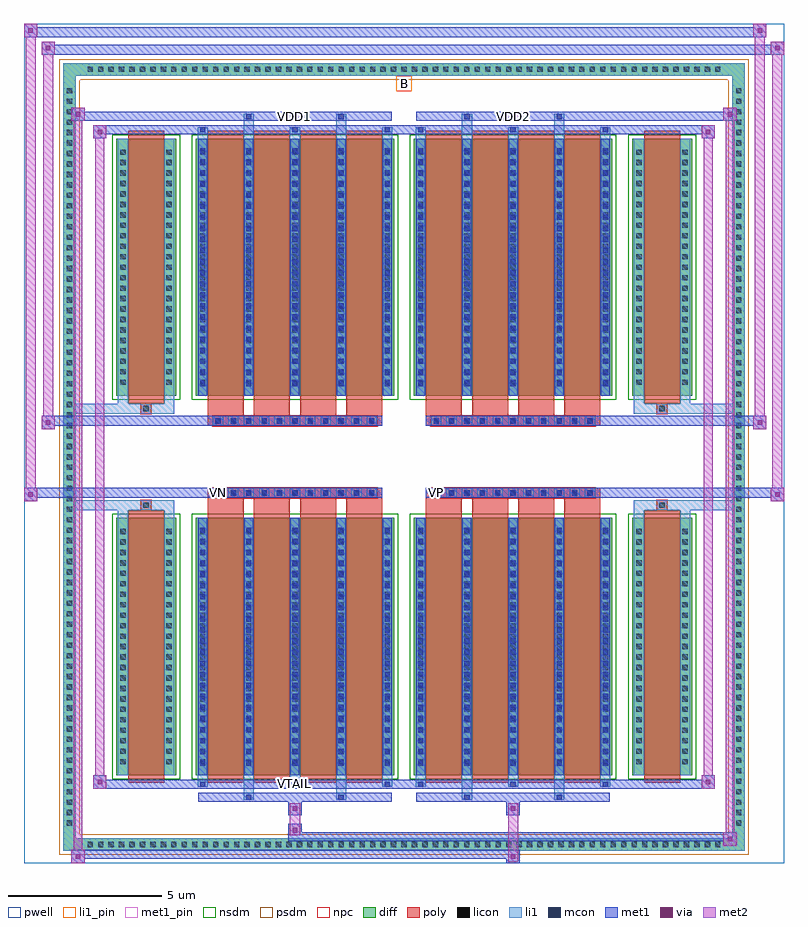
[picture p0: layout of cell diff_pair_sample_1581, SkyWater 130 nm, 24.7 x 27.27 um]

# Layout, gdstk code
import gdstk
lib = gdstk.Library(unit=1e-6, precision=5e-09)
def R(c, l, rs):  # rectangles x0, y0, x1, y1
    for r in rs: c.add(gdstk.rectangle(r[:2], r[2:], *l))
def A(c, l, x, y, w, h, nx, ny, dx, dy):  # array of equal rectangles
    R(c, l, [(x+i*dx, y+j*dy, x+i*dx+w, y+j*dy+h) for i in range(nx) for j in range(ny)])
def P(c, l, *ps):  # polygons
    for p in ps: c.add(gdstk.Polygon(p, *l))
pwell = (64, 44)
diff = (65, 20)
poly = (66, 20)
licon = (66, 44)
li1_pin = (67, 16)
li1 = (67, 20)
mcon = (67, 44)
met1_pin = (68, 16)
met1 = (68, 20)
via = (68, 44)
met2 = (69, 20)
nsdm = (93, 44)
psdm = (94, 20)
npc = (95, 20)

diff_pair_sample_1581 = lib.new_cell('diff_pair_sample_1581')
R(diff_pair_sample_1581, pwell, [(-12.35,-13.2,12.35,14.07), (-9.67,-11.39,-0.01,-0.805), (0.01,-11.39,9.67,-0.805), (-9.67,0.805,-0.01,11.39), (0.01,0.805,9.67,11.39)])
A(diff_pair_sample_1581, diff, -10.405, -12.8, 0.41, 0.41, 61, 2, 0.34, 25.19)
A(diff_pair_sample_1581, diff, -11.08, -12.105, 0.41, 0.41, 1, 71, 0, 0.34)
A(diff_pair_sample_1581, diff, 10.67, -12.105, 0.41, 0.41, 1, 71, 0, 0.34)
R(diff_pair_sample_1581, diff, [(-10.405,-12.8,10.405,-12.39), (-11.08,-12.105,-10.67,12.105), (10.67,-12.105,11.08,12.105), (-9.36,-10.345,-7.41,-1.985), (-6.77,-10.345,-0.32,-1.985), (0.32,-10.345,6.77,-1.985), (7.41,-10.345,9.36,-1.985), (-9.36,1.985,-7.41,10.345), (-6.77,1.985,-0.32,10.345), (0.32,1.985,6.77,10.345), (7.41,1.985,9.36,10.345), (-10.405,12.39,10.405,12.8)])
P(diff_pair_sample_1581, diff, [(11.08,12.8),(-11.08,12.8),(-11.08,-12.39),(-10.67,-12.39),(-10.67,12.39),(10.67,12.39),(10.67,-12.39),(-10.67,-12.39),(-11.08,-12.39),(-11.08,-12.8),(11.08,-12.8)])
A(diff_pair_sample_1581, poly, -6.38, -10.595, 1.17, 8.86, 4, 2, 1.5, 12.33)
A(diff_pair_sample_1581, poly, 0.71, -10.595, 1.17, 8.86, 4, 2, 1.5, 12.33)
A(diff_pair_sample_1581, poly, -6.38, -1.735, 1.17, 0.4, 4, 2, 1.5, 3.07)
A(diff_pair_sample_1581, poly, 0.71, -1.735, 1.17, 0.4, 4, 2, 1.5, 3.07)
A(diff_pair_sample_1581, poly, -6.21, -1.335, 0.33, 0.33, 11, 2, 0.5, 2.34)
A(diff_pair_sample_1581, poly, 0.88, -1.335, 0.33, 0.33, 11, 2, 0.5, 2.34)
R(diff_pair_sample_1581, poly, [(-8.97,-10.595,-7.8,-1.735), (7.8,-10.595,8.97,-1.735), (-8.55,-1.735,-8.22,-1.405), (-8.55,-1.735,-8.22,-1.405), (8.22,-1.735,8.55,-1.405), (8.22,-1.735,8.55,-1.405), (-6.38,-1.335,-0.71,-1.005), (0.71,-1.335,6.38,-1.005), (-6.38,1.005,-0.71,1.335), (0.71,1.005,6.38,1.335), (-8.55,1.405,-8.22,1.735), (-8.55,1.405,-8.22,1.735), (8.22,1.405,8.55,1.735), (8.22,1.405,8.55,1.735), (-8.97,1.735,-7.8,10.595), (7.8,1.735,8.97,10.595)])
A(diff_pair_sample_1581, licon, -10.285, -12.68, 0.17, 0.17, 61, 2, 0.34, 25.19)
A(diff_pair_sample_1581, licon, -10.96, -11.985, 0.17, 0.17, 1, 71, 0, 0.34)
A(diff_pair_sample_1581, licon, 10.79, -11.985, 0.17, 0.17, 1, 71, 0, 0.34)
A(diff_pair_sample_1581, licon, -9.22, -9.99, 0.17, 0.17, 1, 23, 0, 0.34)
A(diff_pair_sample_1581, licon, -7.72, -9.99, 0.17, 0.17, 1, 23, 0, 0.34)
A(diff_pair_sample_1581, licon, -6.63, -9.99, 0.17, 0.17, 5, 23, 1.5, 0.34)
A(diff_pair_sample_1581, licon, 0.46, -9.99, 0.17, 0.17, 5, 23, 1.5, 0.34)
A(diff_pair_sample_1581, licon, 7.55, -9.99, 0.17, 0.17, 1, 23, 0, 0.34)
A(diff_pair_sample_1581, licon, 9.05, -9.99, 0.17, 0.17, 1, 23, 0, 0.34)
A(diff_pair_sample_1581, licon, -6.13, -1.255, 0.17, 0.17, 11, 2, 0.5, 2.34)
A(diff_pair_sample_1581, licon, 0.96, -1.255, 0.17, 0.17, 11, 2, 0.5, 2.34)
A(diff_pair_sample_1581, licon, -9.22, 2.34, 0.17, 0.17, 1, 23, 0, 0.34)
A(diff_pair_sample_1581, licon, -7.72, 2.34, 0.17, 0.17, 1, 23, 0, 0.34)
A(diff_pair_sample_1581, licon, -6.63, 2.34, 0.17, 0.17, 5, 23, 1.5, 0.34)
A(diff_pair_sample_1581, licon, 0.46, 2.34, 0.17, 0.17, 5, 23, 1.5, 0.34)
A(diff_pair_sample_1581, licon, 7.55, 2.34, 0.17, 0.17, 1, 23, 0, 0.34)
A(diff_pair_sample_1581, licon, 9.05, 2.34, 0.17, 0.17, 1, 23, 0, 0.34)
R(diff_pair_sample_1581, licon, [(-8.47,-1.655,-8.3,-1.485), (8.3,-1.655,8.47,-1.485), (-8.47,1.485,-8.3,1.655), (8.3,1.485,8.47,1.655)])
R(diff_pair_sample_1581, li1_pin, [(-0.25,11.89,0.25,12.39)])
A(diff_pair_sample_1581, li1, -10.365, -12.76, 0.33, 0.33, 61, 2, 0.34, 25.19)
A(diff_pair_sample_1581, li1, -11.04, -12.065, 0.33, 0.33, 1, 71, 0, 0.34)
A(diff_pair_sample_1581, li1, 10.71, -12.065, 0.33, 0.33, 1, 71, 0, 0.34)
A(diff_pair_sample_1581, li1, -6.71, -10.72, 0.33, 0.375, 3, 2, 3, 21.065)
A(diff_pair_sample_1581, li1, -6.63, -10.72, 0.17, 0.17, 3, 2, 3, 21.27)
A(diff_pair_sample_1581, li1, 0.38, -10.72, 0.33, 0.375, 3, 2, 3, 21.065)
A(diff_pair_sample_1581, li1, 0.46, -10.72, 0.17, 0.17, 3, 2, 3, 21.27)
A(diff_pair_sample_1581, li1, -6.71, -10.345, 0.33, 8.36, 5, 2, 1.5, 12.33)
A(diff_pair_sample_1581, li1, 0.38, -10.345, 0.33, 8.36, 5, 2, 1.5, 12.33)
A(diff_pair_sample_1581, li1, -9.3, -10.07, 0.33, 0.33, 1, 23, 0, 0.34)
A(diff_pair_sample_1581, li1, -7.8, -10.07, 0.33, 0.33, 1, 23, 0, 0.34)
A(diff_pair_sample_1581, li1, -6.71, -10.07, 0.33, 0.33, 5, 23, 1.5, 0.34)
A(diff_pair_sample_1581, li1, 0.38, -10.07, 0.33, 0.33, 5, 23, 1.5, 0.34)
A(diff_pair_sample_1581, li1, 7.47, -10.07, 0.33, 0.33, 1, 23, 0, 0.34)
A(diff_pair_sample_1581, li1, 8.97, -10.07, 0.33, 0.33, 1, 23, 0, 0.34)
A(diff_pair_sample_1581, li1, -6.63, -10.03, 0.17, 0.17, 5, 22, 1.5, 0.36)
A(diff_pair_sample_1581, li1, -6.63, -10.03, 0.17, 7.73, 5, 2, 1.5, 12.33)
A(diff_pair_sample_1581, li1, 0.46, -10.03, 0.17, 0.17, 5, 22, 1.5, 0.36)
A(diff_pair_sample_1581, li1, 0.46, -10.03, 0.17, 7.73, 5, 2, 1.5, 12.33)
A(diff_pair_sample_1581, li1, -6.21, -1.335, 0.33, 0.33, 11, 2, 0.5, 2.34)
A(diff_pair_sample_1581, li1, 0.88, -1.335, 0.33, 0.33, 11, 2, 0.5, 2.34)
A(diff_pair_sample_1581, li1, -9.3, 2.26, 0.33, 0.33, 1, 23, 0, 0.34)
A(diff_pair_sample_1581, li1, -7.8, 2.26, 0.33, 0.33, 1, 23, 0, 0.34)
A(diff_pair_sample_1581, li1, -6.71, 2.26, 0.33, 0.33, 5, 23, 1.5, 0.34)
A(diff_pair_sample_1581, li1, 0.38, 2.26, 0.33, 0.33, 5, 23, 1.5, 0.34)
A(diff_pair_sample_1581, li1, 7.47, 2.26, 0.33, 0.33, 1, 23, 0, 0.34)
A(diff_pair_sample_1581, li1, 8.97, 2.26, 0.33, 0.33, 1, 23, 0, 0.34)
A(diff_pair_sample_1581, li1, -6.63, 2.3, 0.17, 0.17, 5, 22, 1.5, 0.36)
A(diff_pair_sample_1581, li1, 0.46, 2.3, 0.17, 0.17, 5, 22, 1.5, 0.36)
R(diff_pair_sample_1581, li1, [(-11.08,-12.8,-10.67,-12.39), (-11.08,-12.8,-10.67,-12.39), (-10.67,-12.8,10.67,-12.39), (10.67,-12.8,11.08,-12.39), (10.67,-12.8,11.08,-12.39), (-11.08,-12.39,-10.67,12.39), (10.67,-12.39,11.08,12.39), (-5.21,-11.15,-4.88,-10.345), (-5.13,-11.15,-4.96,-10.98), (-2.21,-11.15,-1.88,-10.345), (-2.13,-11.15,-1.96,-10.98), (1.88,-11.15,2.21,-10.345), (1.96,-11.15,2.13,-10.98), (4.88,-11.15,5.21,-10.345), (4.96,-11.15,5.13,-10.98), (-9.3,-10.345,-8.97,-1.985), (-7.8,-10.345,-7.47,-1.985), (7.47,-10.345,7.8,-1.985), (8.97,-10.345,9.3,-1.985), (-9.3,-1.985,-8.97,-1.405), (-7.8,-1.985,-7.47,-1.405), (7.47,-1.985,7.8,-1.405), (8.97,-1.985,9.3,-1.405), (-11.08,-1.735,-8.55,-1.405), (-9.3,-1.735,-8.55,-1.405), (-8.55,-1.735,-8.22,-1.405), (-8.22,-1.735,-7.47,-1.405), (7.47,-1.735,8.22,-1.405), (8.22,-1.735,8.55,-1.405), (8.22,-1.735,11.08,-1.405), (8.55,-1.735,9.3,-1.405), (-11.08,1.405,-8.55,1.735), (-9.3,1.405,-8.55,1.735), (-9.3,1.405,-8.97,1.985), (-8.55,1.405,-8.22,1.735), (-8.22,1.405,-7.47,1.735), (-7.8,1.405,-7.47,1.985), (7.47,1.405,8.22,1.735), (7.47,1.405,7.8,1.985), (8.22,1.405,8.55,1.735), (8.22,1.405,11.08,1.735), (8.55,1.405,9.3,1.735), (8.97,1.405,9.3,1.985), (-9.3,1.985,-8.97,10.345), (-7.8,1.985,-7.47,10.345), (7.47,1.985,7.8,10.345), (8.97,1.985,9.3,10.345), (-5.21,10.345,-4.88,11.15), (-2.21,10.345,-1.88,11.15), (1.88,10.345,2.21,11.15), (4.88,10.345,5.21,11.15), (-5.13,10.98,-4.96,11.15), (-2.13,10.98,-1.96,11.15), (1.96,10.98,2.13,11.15), (4.96,10.98,5.13,11.15), (-11.08,12.39,-10.67,12.8), (-11.08,12.39,-10.67,12.8), (-10.67,12.39,10.67,12.8), (10.67,12.39,11.08,12.8), (10.67,12.39,11.08,12.8)])
A(diff_pair_sample_1581, mcon, -6.63, -10.72, 0.17, 0.17, 3, 2, 3, 21.27)
A(diff_pair_sample_1581, mcon, 0.46, -10.72, 0.17, 0.17, 3, 2, 3, 21.27)
A(diff_pair_sample_1581, mcon, -6.63, -10.03, 0.17, 0.17, 5, 22, 1.5, 0.36)
A(diff_pair_sample_1581, mcon, 0.46, -10.03, 0.17, 0.17, 5, 22, 1.5, 0.36)
A(diff_pair_sample_1581, mcon, -6.13, -1.255, 0.17, 0.17, 11, 2, 0.5, 2.34)
A(diff_pair_sample_1581, mcon, 0.96, -1.255, 0.17, 0.17, 11, 2, 0.5, 2.34)
A(diff_pair_sample_1581, mcon, -6.63, 2.3, 0.17, 0.17, 5, 22, 1.5, 0.36)
A(diff_pair_sample_1581, mcon, 0.46, 2.3, 0.17, 0.17, 5, 22, 1.5, 0.36)
R(diff_pair_sample_1581, mcon, [(-5.13,-11.15,-4.96,-10.98), (-2.13,-11.15,-1.96,-10.98), (1.96,-11.15,2.13,-10.98), (4.96,-11.15,5.13,-10.98), (-5.13,10.98,-4.96,11.15), (-2.13,10.98,-1.96,11.15), (1.96,10.98,2.13,11.15), (4.96,10.98,5.13,11.15)])
R(diff_pair_sample_1581, met1_pin, [(-3.68,-10.76,-3.41,-10.49), (-6.18,-1.295,-5.91,-1.025), (0.91,-1.295,1.18,-1.025), (-3.68,10.94,-3.41,11.21), (3.41,10.94,3.68,11.21)])
A(diff_pair_sample_1581, met1, -6.69, -10.78, 0.29, 0.29, 3, 2, 3, 21.27)
A(diff_pair_sample_1581, met1, 0.4, -10.78, 0.29, 0.29, 3, 2, 3, 21.27)
A(diff_pair_sample_1581, met1, -6.69, -10.345, 0.29, 8.36, 5, 2, 1.5, 12.33)
A(diff_pair_sample_1581, met1, 0.4, -10.345, 0.29, 8.36, 5, 2, 1.5, 12.33)
A(diff_pair_sample_1581, met1, -6.69, -10.09, 0.29, 0.29, 5, 22, 1.5, 0.36)
A(diff_pair_sample_1581, met1, 0.4, -10.09, 0.29, 0.29, 5, 22, 1.5, 0.36)
A(diff_pair_sample_1581, met1, -6.19, -1.315, 0.29, 0.29, 11, 2, 0.5, 2.34)
A(diff_pair_sample_1581, met1, 0.9, -1.315, 0.29, 0.29, 11, 2, 0.5, 2.34)
A(diff_pair_sample_1581, met1, -6.69, 2.24, 0.29, 0.29, 5, 22, 1.5, 0.36)
A(diff_pair_sample_1581, met1, 0.4, 2.24, 0.29, 0.29, 5, 22, 1.5, 0.36)
R(diff_pair_sample_1581, met1, [(-10.81,-13.2,-10.38,-12.77), (3.33,-13.2,3.76,-12.77), (-10.81,-13.06,3.76,-12.77), (10.38,-12.63,10.81,-12.2), (-3.76,-12.49,10.81,-12.2), (-3.76,-12.35,-3.33,-11.92), (-3.76,-11.64,-3.33,-11.21), (3.33,-11.64,3.76,-11.21), (-6.69,-11.21,-0.4,-10.92), (-5.19,-11.21,-4.9,-10.92), (-2.19,-11.21,-1.9,-10.92), (0.4,-11.21,6.69,-10.92), (1.9,-11.21,2.19,-10.92), (4.9,-11.21,5.19,-10.92), (-10.1,-10.78,-9.67,-10.35), (-10.1,-10.78,-6.69,-10.49), (-6.69,-10.78,-0.4,-10.49), (-0.4,-10.78,0.4,-10.49), (0.4,-10.78,6.69,-10.49), (6.69,-10.78,10.1,-10.49), (9.67,-10.78,10.1,-10.35), (-12.35,-1.435,-11.92,-1.005), (11.92,-1.435,12.35,-1.005), (-12.35,-1.335,-0.71,-1.005), (-6.38,-1.335,-0.71,-1.005), (0.71,-1.335,6.38,-1.005), (0.71,-1.335,12.35,-1.005), (-11.78,0.905,-11.35,1.335), (11.35,0.905,11.78,1.335), (-11.78,1.005,-6.38,1.335), (-6.38,1.005,-0.71,1.335), (0.71,1.005,6.38,1.335), (6.38,1.005,11.78,1.335), (-10.1,10.35,-9.67,10.78), (9.67,10.35,10.1,10.78), (-10.1,10.49,-6.69,10.78), (-6.69,10.49,-0.4,10.78), (-0.4,10.49,0.4,10.78), (0.4,10.49,6.69,10.78), (6.69,10.49,10.1,10.78), (-10.81,10.92,-10.38,11.35), (-10.81,10.92,-6.69,11.21), (-6.69,10.92,-0.4,11.21), (-5.19,10.92,-4.9,11.21), (-2.19,10.92,-1.9,11.21), (0.4,10.92,6.69,11.21), (1.9,10.92,2.19,11.21), (4.9,10.92,5.19,11.21), (6.69,10.92,10.81,11.21), (10.38,10.92,10.81,11.35), (-11.78,13.07,-11.35,13.5), (-11.78,13.07,-9.67,13.4), (-9.67,13.07,9.67,13.4), (9.67,13.07,12.35,13.4), (11.92,13.07,12.35,13.5), (-12.35,13.64,-11.92,14.07), (-12.35,13.64,-9.67,13.97), (-9.67,13.64,9.67,13.97), (9.67,13.64,11.78,13.97), (11.35,13.64,11.78,14.07)])
R(diff_pair_sample_1581, via, [(-10.67,-13.06,-10.52,-12.91), (3.47,-13.06,3.62,-12.91), (10.52,-12.49,10.67,-12.34), (-3.62,-12.21,-3.47,-12.06), (-3.62,-11.5,-3.47,-11.35), (3.47,-11.5,3.62,-11.35), (-9.96,-10.64,-9.81,-10.49), (9.81,-10.64,9.96,-10.49), (-12.21,-1.295,-12.06,-1.145), (12.06,-1.295,12.21,-1.145), (-11.64,1.045,-11.49,1.195), (11.49,1.045,11.64,1.195), (-9.96,10.49,-9.81,10.64), (9.81,10.49,9.96,10.64), (-10.67,11.06,-10.52,11.21), (10.52,11.06,10.67,11.21), (-11.64,13.21,-11.49,13.36), (12.06,13.21,12.21,13.36), (-12.21,13.78,-12.06,13.93), (11.49,13.78,11.64,13.93)])
R(diff_pair_sample_1581, met2, [(-10.81,-13.2,-10.38,-12.77), (-10.74,-13.2,-10.45,11.35), (-10.45,-13.2,-10.38,-12.77), (-10.76,-13.15,-10.43,-12.82), (3.38,-13.15,3.71,-12.82), (3.38,-12.82,3.71,-11.59), (10.38,-12.63,10.81,-12.2), (10.45,-12.63,10.74,11.35), (10.74,-12.63,10.81,-12.2), (10.43,-12.58,10.76,-12.25), (-3.71,-12.3,-3.38,-11.97), (-3.71,-11.97,-3.38,-11.59), (-3.71,-11.59,-3.38,-11.26), (3.38,-11.59,3.71,-11.26), (-10.1,-10.78,-9.67,-10.35), (-10.03,-10.78,-9.74,10.78), (-9.74,-10.78,-9.67,-10.35), (9.67,-10.78,10.1,-10.35), (9.74,-10.78,10.03,10.78), (10.03,-10.78,10.1,-10.35), (-10.05,-10.73,-9.72,-10.4), (9.72,-10.73,10.05,-10.4), (-12.35,-1.435,-11.92,-1.005), (-12.3,-1.435,-11.97,14.07), (-11.97,-1.435,-11.92,-1.005), (11.92,-1.435,12.35,-1.005), (11.97,-1.435,12.3,13.5), (12.3,-1.435,12.35,-1.005), (-12.3,-1.385,-11.97,-1.055), (11.97,-1.385,12.3,-1.055), (-11.78,0.905,-11.35,1.335), (-11.73,0.905,-11.4,13.5), (-11.4,0.905,-11.35,1.335), (11.35,0.905,11.78,1.335), (11.4,0.905,11.73,14.07), (11.73,0.905,11.78,1.335), (-11.73,0.955,-11.4,1.285), (11.4,0.955,11.73,1.285), (-10.1,10.35,-9.67,10.78), (-9.74,10.35,-9.67,10.78), (9.67,10.35,10.1,10.78), (10.03,10.35,10.1,10.78), (-10.05,10.4,-9.72,10.73), (9.72,10.4,10.05,10.73), (-10.81,10.92,-10.38,11.35), (-10.45,10.92,-10.38,11.35), (10.38,10.92,10.81,11.35), (10.74,10.92,10.81,11.35), (-10.76,10.97,-10.43,11.3), (10.43,10.97,10.76,11.3), (-11.78,13.07,-11.35,13.5), (-11.4,13.07,-11.35,13.5), (11.92,13.07,12.35,13.5), (12.3,13.07,12.35,13.5), (-11.73,13.12,-11.4,13.45), (11.97,13.12,12.3,13.45), (-12.35,13.64,-11.92,14.07), (-11.97,13.64,-11.92,14.07), (11.35,13.64,11.78,14.07), (11.73,13.64,11.78,14.07), (-12.3,13.69,-11.97,14.02), (11.4,13.69,11.73,14.02)])
R(diff_pair_sample_1581, nsdm, [(-9.49,-10.475,-7.28,-1.855), (-6.9,-10.475,-0.19,-1.855), (0.19,-10.475,6.9,-1.855), (7.28,-10.475,9.49,-1.855), (-9.49,1.855,-7.28,10.475), (-6.9,1.855,-0.19,10.475), (0.19,1.855,6.9,10.475), (7.28,1.855,9.49,10.475)])
P(diff_pair_sample_1581, psdm, [(11.21,12.93),(-11.21,12.93),(-11.21,-12.26),(-10.54,-12.26),(-10.54,12.26),(10.54,12.26),(10.54,-12.26),(-10.54,-12.26),(-11.21,-12.26),(-11.21,-12.93),(11.21,-12.93)])
A(diff_pair_sample_1581, npc, -6.23, -1.355, 0.37, 0.37, 11, 2, 0.5, 2.34)
A(diff_pair_sample_1581, npc, 0.86, -1.355, 0.37, 0.37, 11, 2, 0.5, 2.34)
R(diff_pair_sample_1581, npc, [(-8.57,-1.755,-8.2,-1.385), (8.2,-1.755,8.57,-1.385), (-6.23,-1.355,-5.36,-0.985), (-6.23,-1.355,-5.36,-0.985), (-5.73,-1.355,-4.86,-0.985), (-5.73,-1.355,-4.86,-0.985), (-5.23,-1.355,-4.36,-0.985), (-5.23,-1.355,-4.36,-0.985), (-4.73,-1.355,-3.86,-0.985), (-4.73,-1.355,-3.86,-0.985), (-4.23,-1.355,-3.36,-0.985), (-4.23,-1.355,-3.36,-0.985), (-3.73,-1.355,-2.86,-0.985), (-3.73,-1.355,-2.86,-0.985), (-3.23,-1.355,-2.36,-0.985), (-3.23,-1.355,-2.36,-0.985), (-2.73,-1.355,-1.86,-0.985), (-2.73,-1.355,-1.86,-0.985), (-2.23,-1.355,-1.36,-0.985), (-2.23,-1.355,-1.36,-0.985), (-1.73,-1.355,-0.86,-0.985), (-1.73,-1.355,-0.86,-0.985), (0.86,-1.355,1.73,-0.985), (0.86,-1.355,1.73,-0.985), (1.36,-1.355,2.23,-0.985), (1.36,-1.355,2.23,-0.985), (1.86,-1.355,2.73,-0.985), (1.86,-1.355,2.73,-0.985), (2.36,-1.355,3.23,-0.985), (2.36,-1.355,3.23,-0.985), (2.86,-1.355,3.73,-0.985), (2.86,-1.355,3.73,-0.985), (3.36,-1.355,4.23,-0.985), (3.36,-1.355,4.23,-0.985), (3.86,-1.355,4.73,-0.985), (3.86,-1.355,4.73,-0.985), (4.36,-1.355,5.23,-0.985), (4.36,-1.355,5.23,-0.985), (4.86,-1.355,5.73,-0.985), (4.86,-1.355,5.73,-0.985), (5.36,-1.355,6.23,-0.985), (5.36,-1.355,6.23,-0.985), (-6.23,0.985,-5.36,1.355), (-6.23,0.985,-5.36,1.355), (-5.73,0.985,-4.86,1.355), (-5.73,0.985,-4.86,1.355), (-5.23,0.985,-4.36,1.355), (-5.23,0.985,-4.36,1.355), (-4.73,0.985,-3.86,1.355), (-4.73,0.985,-3.86,1.355), (-4.23,0.985,-3.36,1.355), (-4.23,0.985,-3.36,1.355), (-3.73,0.985,-2.86,1.355), (-3.73,0.985,-2.86,1.355), (-3.23,0.985,-2.36,1.355), (-3.23,0.985,-2.36,1.355), (-2.73,0.985,-1.86,1.355), (-2.73,0.985,-1.86,1.355), (-2.23,0.985,-1.36,1.355), (-2.23,0.985,-1.36,1.355), (-1.73,0.985,-0.86,1.355), (-1.73,0.985,-0.86,1.355), (0.86,0.985,1.73,1.355), (0.86,0.985,1.73,1.355), (1.36,0.985,2.23,1.355), (1.36,0.985,2.23,1.355), (1.86,0.985,2.73,1.355), (1.86,0.985,2.73,1.355), (2.36,0.985,3.23,1.355), (2.36,0.985,3.23,1.355), (2.86,0.985,3.73,1.355), (2.86,0.985,3.73,1.355), (3.36,0.985,4.23,1.355), (3.36,0.985,4.23,1.355), (3.86,0.985,4.73,1.355), (3.86,0.985,4.73,1.355), (4.36,0.985,5.23,1.355), (4.36,0.985,5.23,1.355), (4.86,0.985,5.73,1.355), (4.86,0.985,5.73,1.355), (5.36,0.985,6.23,1.355), (5.36,0.985,6.23,1.355), (-8.57,1.385,-8.2,1.755), (8.2,1.385,8.57,1.755)])
diff_pair_sample_1581.add(gdstk.Label('VTAIL', (-3.545,-10.625), layer=68, texttype=5))
diff_pair_sample_1581.add(gdstk.Label('VN', (-6.045,-1.16), layer=68, texttype=5))
diff_pair_sample_1581.add(gdstk.Label('VP', (1.045,-1.16), layer=68, texttype=5))
diff_pair_sample_1581.add(gdstk.Label('B', (0,12.14), layer=67, texttype=5))
diff_pair_sample_1581.add(gdstk.Label('VDD2', (3.545,11.075), layer=68, texttype=5))
diff_pair_sample_1581.add(gdstk.Label('VDD1', (-3.545,11.075), layer=68, texttype=5))

lib.write_gds('diff_pair_sample_1581.gds')
